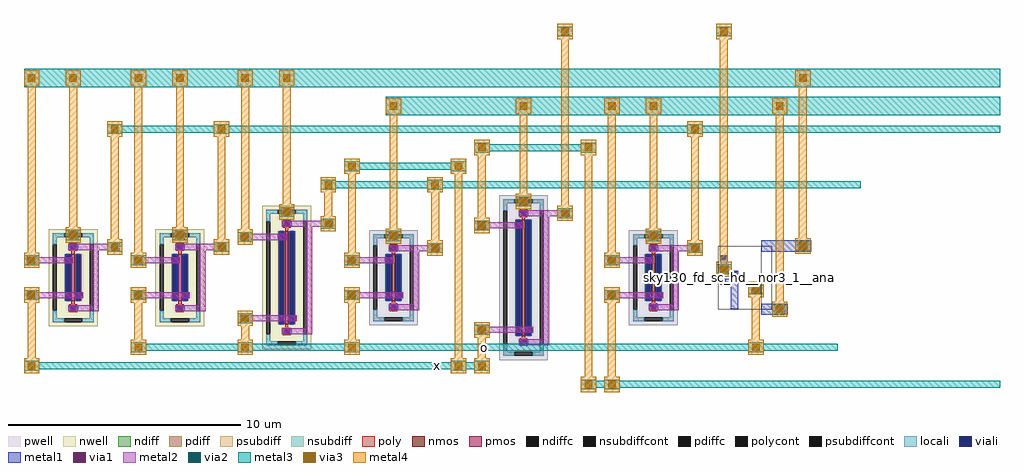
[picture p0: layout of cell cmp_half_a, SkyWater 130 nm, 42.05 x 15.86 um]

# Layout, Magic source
magic
tech sky130A
magscale 1 2
<< viali >>
rect -2054 -119 -2020 -85
rect -2238 17 -2204 51
rect -2330 -51 -2296 -17
rect -2330 153 -2296 187
rect -2937 340 -2903 374
rect -2937 238 -2903 272
rect -2981 -188 -2947 188
rect -2893 -188 -2859 188
rect -2937 -272 -2903 -238
rect -4057 640 -4023 674
rect -4057 538 -4023 572
rect -4101 -488 -4067 488
rect -4013 -488 -3979 488
rect -4057 -572 -4023 -538
rect -5177 340 -5143 374
rect -5177 238 -5143 272
rect -5221 -188 -5187 188
rect -5133 -188 -5099 188
rect -5177 -272 -5143 -238
rect -6097 549 -6063 583
rect -6097 447 -6063 481
rect -6141 -388 -6107 388
rect -6053 -388 -6019 388
rect -6097 -481 -6063 -447
rect -7017 349 -6983 383
rect -7017 247 -6983 281
rect -7061 -188 -7027 188
rect -6973 -188 -6939 188
rect -7017 -281 -6983 -247
rect -7937 349 -7903 383
rect -7937 247 -7903 281
rect -7981 -188 -7947 188
rect -7893 -188 -7859 188
rect -7937 -281 -7903 -247
<< metal1 >>
rect -2069 -128 -2005 -76
rect -2253 8 -2189 60
rect -2345 -60 -2281 -8
rect -2342 40 -2284 193
rect -2345 -60 -2189 -8
rect -2253 -60 -2189 60
rect -2253 -272 -2189 60
rect -2069 -134 -2005 -70
rect -2345 40 -2281 104
rect -1992 -320 -1762 -224
rect -1992 224 -1562 320
rect -1864 -304 -1800 -240
rect -1664 240 -1600 304
rect -2997 124 -2931 176
rect -2909 -176 -2843 -124
rect -2962 229 -2878 281
rect -2962 -281 -2878 -229
rect -2952 331 -2888 383
rect -2949 272 -2891 278
rect -2949 238 -2937 272
rect -2903 238 -2891 272
rect -2949 232 -2891 238
rect -2987 188 -2941 200
rect -2987 -188 -2981 188
rect -2947 -188 -2941 188
rect -2987 -200 -2941 -188
rect -2899 188 -2853 200
rect -2899 -188 -2893 188
rect -2859 -188 -2853 188
rect -2899 -200 -2853 -188
rect -2949 -238 -2891 -232
rect -2949 -272 -2937 -238
rect -2903 -272 -2891 -238
rect -2949 -278 -2891 -272
rect -4117 424 -4051 476
rect -4029 -476 -3963 -424
rect -4082 529 -3998 581
rect -4082 -581 -3998 -529
rect -4072 631 -4008 683
rect -4069 572 -4011 578
rect -4069 538 -4057 572
rect -4023 538 -4011 572
rect -4069 532 -4011 538
rect -4107 488 -4061 500
rect -4107 -488 -4101 488
rect -4067 -488 -4061 488
rect -4107 -500 -4061 -488
rect -4019 488 -3973 500
rect -4019 -488 -4013 488
rect -3979 -488 -3973 488
rect -4019 -500 -3973 -488
rect -4069 -538 -4011 -532
rect -4069 -572 -4057 -538
rect -4023 -572 -4011 -538
rect -4069 -578 -4011 -572
rect -5237 124 -5171 176
rect -5149 -176 -5083 -124
rect -5202 229 -5118 281
rect -5202 -281 -5118 -229
rect -5192 331 -5128 383
rect -5189 272 -5131 278
rect -5189 238 -5177 272
rect -5143 238 -5131 272
rect -5189 232 -5131 238
rect -5227 188 -5181 200
rect -5227 -188 -5221 188
rect -5187 -188 -5181 188
rect -5227 -200 -5181 -188
rect -5139 188 -5093 200
rect -5139 -188 -5133 188
rect -5099 -188 -5093 188
rect -5139 -200 -5093 -188
rect -5189 -238 -5131 -232
rect -5189 -272 -5177 -238
rect -5143 -272 -5131 -238
rect -5189 -278 -5131 -272
rect -6157 324 -6091 376
rect -6069 -376 -6003 -324
rect -6122 438 -6038 490
rect -6122 -490 -6038 -438
rect -6112 540 -6048 592
rect -6109 481 -6051 487
rect -6109 447 -6097 481
rect -6063 447 -6051 481
rect -6109 441 -6051 447
rect -6147 388 -6101 400
rect -6147 -388 -6141 388
rect -6107 -388 -6101 388
rect -6147 -400 -6101 -388
rect -6059 388 -6013 400
rect -6059 -388 -6053 388
rect -6019 -388 -6013 388
rect -6059 -400 -6013 -388
rect -6109 -447 -6051 -441
rect -6109 -481 -6097 -447
rect -6063 -481 -6051 -447
rect -6109 -487 -6051 -481
rect -7077 124 -7011 176
rect -6989 -176 -6923 -124
rect -7042 238 -6958 290
rect -7042 -290 -6958 -238
rect -7032 340 -6968 392
rect -7029 281 -6971 287
rect -7029 247 -7017 281
rect -6983 247 -6971 281
rect -7029 241 -6971 247
rect -7067 188 -7021 200
rect -7067 -188 -7061 188
rect -7027 -188 -7021 188
rect -7067 -200 -7021 -188
rect -6979 188 -6933 200
rect -6979 -188 -6973 188
rect -6939 -188 -6933 188
rect -6979 -200 -6933 -188
rect -7029 -247 -6971 -241
rect -7029 -281 -7017 -247
rect -6983 -281 -6971 -247
rect -7029 -287 -6971 -281
rect -7997 124 -7931 176
rect -7909 -176 -7843 -124
rect -7962 238 -7878 290
rect -7962 -290 -7878 -238
rect -7952 340 -7888 392
rect -7949 281 -7891 287
rect -7949 247 -7937 281
rect -7903 247 -7891 281
rect -7949 241 -7891 247
rect -7987 188 -7941 200
rect -7987 -188 -7981 188
rect -7947 -188 -7941 188
rect -7987 -200 -7941 -188
rect -7899 188 -7853 200
rect -7899 -188 -7893 188
rect -7859 -188 -7853 188
rect -7899 -200 -7853 -188
rect -7949 -247 -7891 -241
rect -7949 -281 -7937 -247
rect -7903 -281 -7891 -247
rect -7949 -287 -7891 -281
<< via1 >>
rect -2063 -128 -2011 -76
rect -2339 46 -2287 98
rect -1858 -298 -1806 -246
rect -1658 246 -1606 298
rect -2990 124 -2938 176
rect -2902 -176 -2850 -124
rect -2946 229 -2894 281
rect -2946 -281 -2894 -229
rect -2946 331 -2894 383
rect -4110 424 -4058 476
rect -4022 -476 -3970 -424
rect -4066 529 -4014 581
rect -4066 -581 -4014 -529
rect -4066 631 -4014 683
rect -5230 124 -5178 176
rect -5142 -176 -5090 -124
rect -5186 229 -5134 281
rect -5186 -281 -5134 -229
rect -5186 331 -5134 383
rect -6150 324 -6098 376
rect -6062 -376 -6010 -324
rect -6106 438 -6054 490
rect -6106 -490 -6054 -438
rect -6106 540 -6054 592
rect -7070 124 -7018 176
rect -6982 -176 -6930 -124
rect -7026 238 -6974 290
rect -7026 -290 -6974 -238
rect -7026 340 -6974 392
rect -7990 124 -7938 176
rect -7902 -176 -7850 -124
rect -7946 238 -7894 290
rect -7946 -290 -7894 -238
rect -7946 340 -7894 392
<< metal2 >>
rect -2079 -144 -1995 -60
rect -2355 30 -2271 114
rect -1874 -314 -1790 -230
rect -1674 230 -1590 314
rect -2997 124 -2931 176
rect -2909 -176 -2843 -124
rect -3006 124 -2922 176
rect -2918 -176 -2834 -124
rect -2962 229 -2878 281
rect -2962 229 -2700 281
rect -2962 -281 -2878 -229
rect -2962 -281 -2700 -229
rect -2752 -281 -2700 281
rect -3320 124 -2964 176
rect -3320 -176 -2876 -124
rect -2752 229 -2520 281
rect -2962 315 -2878 399
rect -3320 108 -3236 192
rect -3320 -192 -3236 -108
rect -2604 213 -2520 297
rect -4117 424 -4051 476
rect -4029 -476 -3963 -424
rect -4126 424 -4042 476
rect -4038 -476 -3954 -424
rect -4082 529 -3998 581
rect -4082 529 -3820 581
rect -4082 -581 -3998 -529
rect -4082 -581 -3820 -529
rect -3872 -581 -3820 581
rect -4440 424 -4084 476
rect -4440 -476 -3996 -424
rect -3872 529 -3640 581
rect -4082 615 -3998 699
rect -4440 408 -4356 492
rect -4440 -492 -4356 -408
rect -3724 513 -3640 597
rect -5237 124 -5171 176
rect -5149 -176 -5083 -124
rect -5246 124 -5162 176
rect -5158 -176 -5074 -124
rect -5202 229 -5118 281
rect -5202 229 -4940 281
rect -5202 -281 -5118 -229
rect -5202 -281 -4940 -229
rect -4992 -281 -4940 281
rect -5560 124 -5204 176
rect -5560 -176 -5116 -124
rect -4992 229 -4760 281
rect -5202 315 -5118 399
rect -5560 108 -5476 192
rect -5560 -192 -5476 -108
rect -4844 213 -4760 297
rect -6157 324 -6091 376
rect -6069 -376 -6003 -324
rect -6166 324 -6082 376
rect -6078 -376 -5994 -324
rect -6122 438 -6038 490
rect -6122 438 -5860 490
rect -6122 -490 -6038 -438
rect -6122 -490 -5860 -438
rect -5912 -490 -5860 490
rect -6480 324 -6124 376
rect -6480 -376 -6036 -324
rect -5912 438 -5680 490
rect -6122 524 -6038 608
rect -6480 308 -6396 392
rect -6480 -392 -6396 -308
rect -5764 422 -5680 506
rect -7077 124 -7011 176
rect -6989 -176 -6923 -124
rect -7086 124 -7002 176
rect -6998 -176 -6914 -124
rect -7042 238 -6958 290
rect -7042 238 -6780 290
rect -7042 -290 -6958 -238
rect -7042 -290 -6780 -238
rect -6832 -290 -6780 290
rect -7400 124 -7044 176
rect -7400 -176 -6956 -124
rect -6832 238 -6600 290
rect -7042 324 -6958 408
rect -7400 108 -7316 192
rect -7400 -192 -7316 -108
rect -6684 222 -6600 306
rect -7997 124 -7931 176
rect -7909 -176 -7843 -124
rect -8006 124 -7922 176
rect -7918 -176 -7834 -124
rect -7962 238 -7878 290
rect -7962 238 -7700 290
rect -7962 -290 -7878 -238
rect -7962 -290 -7700 -238
rect -7752 -290 -7700 290
rect -8320 124 -7964 176
rect -8320 -176 -7876 -124
rect -7752 238 -7520 290
rect -7962 324 -7878 408
rect -8320 108 -8236 192
rect -8320 -192 -8236 -108
rect -7604 222 -7520 306
<< via2 >>
rect -2069 -134 -2005 -70
rect -2345 40 -2281 104
rect -1864 -304 -1800 -240
rect -1664 240 -1600 304
rect -3310 118 -3246 182
rect -3310 -182 -3246 -118
rect -2594 223 -2530 287
rect -2952 325 -2888 389
rect -4430 418 -4366 482
rect -4430 -482 -4366 -418
rect -3714 523 -3650 587
rect -4072 625 -4008 689
rect -5550 118 -5486 182
rect -5550 -182 -5486 -118
rect -4834 223 -4770 287
rect -5192 325 -5128 389
rect -6470 318 -6406 382
rect -6470 -382 -6406 -318
rect -5754 432 -5690 496
rect -6112 534 -6048 598
rect -7390 118 -7326 182
rect -7390 -182 -7326 -118
rect -6674 232 -6610 296
rect -7032 334 -6968 398
rect -8310 118 -8246 182
rect -8310 -182 -8246 -118
rect -7594 232 -7530 296
rect -7952 334 -7888 398
<< metal3 >>
rect -3344 108 -3212 192
rect -3344 -192 -3212 -108
rect -2628 213 -2496 297
rect -2986 315 -2854 399
rect -4464 408 -4332 492
rect -4464 -492 -4332 -408
rect -3748 513 -3616 597
rect -4106 615 -3974 699
rect -5584 108 -5452 192
rect -5584 -192 -5452 -108
rect -4868 213 -4736 297
rect -5226 315 -5094 399
rect -6504 308 -6372 392
rect -6504 -392 -6372 -308
rect -5788 422 -5656 506
rect -6146 524 -6014 608
rect -7424 108 -7292 192
rect -7424 -192 -7292 -108
rect -6708 222 -6576 306
rect -7066 324 -6934 408
rect -8344 108 -8212 192
rect -8344 -192 -8212 -108
rect -7628 222 -7496 306
rect -7986 324 -7854 408
rect -3344 1438 -3212 1522
rect -2986 1438 -2854 1522
rect -4106 1438 -3974 1522
rect -5226 1438 -5094 1522
rect -6504 1678 -6372 1762
rect -6146 1678 -6014 1762
rect -7424 1678 -7292 1762
rect -7066 1678 -6934 1762
rect -8344 1678 -8212 1762
rect -7986 1678 -7854 1762
rect -2628 1238 -2496 1322
rect -6708 1238 -6576 1322
rect -7628 1238 -7496 1322
rect -4868 758 -4736 842
rect -5788 758 -5656 842
rect -5584 918 -5452 1002
rect -4464 1078 -4332 1162
rect -5584 -642 -5452 -558
rect -6504 -642 -6372 -558
rect -7424 -642 -7292 -558
rect -4464 -802 -4332 -718
rect -8344 -802 -8212 -718
rect -3344 -962 -3212 -878
rect -1898 -314 -1766 -230
rect -1898 1438 -1766 1522
rect -1698 230 -1566 314
rect -1698 1678 -1566 1762
rect -2103 -144 -1971 -60
rect -2103 -642 -1971 -558
rect -4666 -802 -4534 -718
rect -4666 918 -4534 1002
rect -3546 -962 -3414 -878
rect -3546 1078 -3414 1162
rect -5226 1400 66 1560
rect -8344 1640 66 1800
rect -7628 1250 66 1310
rect -3546 -950 66 -890
rect -5788 770 -1134 830
rect -5584 930 -4534 990
rect -4464 1090 -3414 1150
rect -7424 -630 -1334 -570
rect -8344 -790 -4332 -730
rect -3748 2078 -3616 2162
rect -2379 30 -2247 114
rect -2379 2078 -2247 2162
<< pwell >>
rect -3131 -410 -2709 410
rect -4251 -710 -3829 710
rect -5371 -410 -4949 410
<< nmos >>
rect -2935 -200 -2905 200
rect -4055 -500 -4025 500
rect -5175 -200 -5145 200
<< ndiff >>
rect -2993 188 -2935 200
rect -2993 -188 -2981 188
rect -2947 -188 -2935 188
rect -2993 -200 -2935 -188
rect -2905 188 -2847 200
rect -2905 -188 -2893 188
rect -2859 -188 -2847 188
rect -2905 -200 -2847 -188
rect -4113 488 -4055 500
rect -4113 -488 -4101 488
rect -4067 -488 -4055 488
rect -4113 -500 -4055 -488
rect -4025 488 -3967 500
rect -4025 -488 -4013 488
rect -3979 -488 -3967 488
rect -4025 -500 -3967 -488
rect -5233 188 -5175 200
rect -5233 -188 -5221 188
rect -5187 -188 -5175 188
rect -5233 -200 -5175 -188
rect -5145 188 -5087 200
rect -5145 -188 -5133 188
rect -5099 -188 -5087 188
rect -5145 -200 -5087 -188
<< ndiffc >>
rect -2981 -188 -2947 188
rect -2893 -188 -2859 188
rect -4101 -488 -4067 488
rect -4013 -488 -3979 488
rect -5221 -188 -5187 188
rect -5133 -188 -5099 188
<< psubdiff >>
rect -3095 340 -2999 374
rect -2841 340 -2745 374
rect -3095 278 -3061 340
rect -2779 278 -2745 340
rect -3095 -340 -3061 -278
rect -2779 -340 -2745 -278
rect -3095 -374 -2999 -340
rect -2841 -374 -2745 -340
rect -4215 640 -4119 674
rect -3961 640 -3865 674
rect -4215 578 -4181 640
rect -3899 578 -3865 640
rect -4215 -640 -4181 -578
rect -3899 -640 -3865 -578
rect -4215 -674 -4119 -640
rect -3961 -674 -3865 -640
rect -5335 340 -5239 374
rect -5081 340 -4985 374
rect -5335 278 -5301 340
rect -5019 278 -4985 340
rect -5335 -340 -5301 -278
rect -5019 -340 -4985 -278
rect -5335 -374 -5239 -340
rect -5081 -374 -4985 -340
<< psubdiffcont >>
rect -2999 340 -2841 374
rect -3095 -278 -3061 278
rect -2779 -278 -2745 278
rect -2999 -374 -2841 -340
rect -4119 640 -3961 674
rect -4215 -578 -4181 578
rect -3899 -578 -3865 578
rect -4119 -674 -3961 -640
rect -5239 340 -5081 374
rect -5335 -278 -5301 278
rect -5019 -278 -4985 278
rect -5239 -374 -5081 -340
<< poly >>
rect -2953 272 -2887 288
rect -2953 238 -2937 272
rect -2903 238 -2887 272
rect -2953 222 -2887 238
rect -2935 200 -2905 222
rect -2935 -222 -2905 -200
rect -2953 -238 -2887 -222
rect -2953 -272 -2937 -238
rect -2903 -272 -2887 -238
rect -2953 -288 -2887 -272
rect -4073 572 -4007 588
rect -4073 538 -4057 572
rect -4023 538 -4007 572
rect -4073 522 -4007 538
rect -4055 500 -4025 522
rect -4055 -522 -4025 -500
rect -4073 -538 -4007 -522
rect -4073 -572 -4057 -538
rect -4023 -572 -4007 -538
rect -4073 -588 -4007 -572
rect -5193 272 -5127 288
rect -5193 238 -5177 272
rect -5143 238 -5127 272
rect -5193 222 -5127 238
rect -5175 200 -5145 222
rect -5175 -222 -5145 -200
rect -5193 -238 -5127 -222
rect -5193 -272 -5177 -238
rect -5143 -272 -5127 -238
rect -5193 -288 -5127 -272
rect -6113 481 -6047 497
rect -6113 447 -6097 481
rect -6063 447 -6047 481
rect -6113 431 -6047 447
rect -6095 400 -6065 431
rect -6095 -431 -6065 -400
rect -6113 -447 -6047 -431
rect -6113 -481 -6097 -447
rect -6063 -481 -6047 -447
rect -6113 -497 -6047 -481
rect -7033 281 -6967 297
rect -7033 247 -7017 281
rect -6983 247 -6967 281
rect -7033 231 -6967 247
rect -7015 200 -6985 231
rect -7015 -231 -6985 -200
rect -7033 -247 -6967 -231
rect -7033 -281 -7017 -247
rect -6983 -281 -6967 -247
rect -7033 -297 -6967 -281
rect -7953 281 -7887 297
rect -7953 247 -7937 281
rect -7903 247 -7887 281
rect -7953 231 -7887 247
rect -7935 200 -7905 231
rect -7935 -231 -7905 -200
rect -7953 -247 -7887 -231
rect -7953 -281 -7937 -247
rect -7903 -281 -7887 -247
rect -7953 -297 -7887 -281
<< polycont >>
rect -2937 238 -2903 272
rect -2937 -272 -2903 -238
rect -4057 538 -4023 572
rect -4057 -572 -4023 -538
rect -5177 238 -5143 272
rect -5177 -272 -5143 -238
rect -6097 447 -6063 481
rect -6097 -481 -6063 -447
rect -7017 247 -6983 281
rect -7017 -281 -6983 -247
rect -7937 247 -7903 281
rect -7937 -281 -7903 -247
<< locali >>
rect -3095 340 -2999 374
rect -2841 340 -2745 374
rect -3095 278 -3061 340
rect -2779 278 -2745 340
rect -2953 238 -2937 272
rect -2903 238 -2887 272
rect -2981 188 -2947 204
rect -2981 -204 -2947 -188
rect -2893 188 -2859 204
rect -2893 -204 -2859 -188
rect -2953 -272 -2937 -238
rect -2903 -272 -2887 -238
rect -3095 -340 -3061 -278
rect -2779 -340 -2745 -278
rect -3095 -374 -2999 -340
rect -2841 -374 -2745 -340
rect -4215 640 -4119 674
rect -3961 640 -3865 674
rect -4215 578 -4181 640
rect -3899 578 -3865 640
rect -4073 538 -4057 572
rect -4023 538 -4007 572
rect -4101 488 -4067 504
rect -4101 -504 -4067 -488
rect -4013 488 -3979 504
rect -4013 -504 -3979 -488
rect -4073 -572 -4057 -538
rect -4023 -572 -4007 -538
rect -4215 -640 -4181 -578
rect -3899 -640 -3865 -578
rect -4215 -674 -4119 -640
rect -3961 -674 -3865 -640
rect -5335 340 -5239 374
rect -5081 340 -4985 374
rect -5335 278 -5301 340
rect -5019 278 -4985 340
rect -5193 238 -5177 272
rect -5143 238 -5127 272
rect -5221 188 -5187 204
rect -5221 -204 -5187 -188
rect -5133 188 -5099 204
rect -5133 -204 -5099 -188
rect -5193 -272 -5177 -238
rect -5143 -272 -5127 -238
rect -5335 -340 -5301 -278
rect -5019 -340 -4985 -278
rect -5335 -374 -5239 -340
rect -5081 -374 -4985 -340
rect -6255 549 -6159 583
rect -6001 549 -5905 583
rect -6255 487 -6221 549
rect -5939 487 -5905 549
rect -6113 447 -6097 481
rect -6063 447 -6047 481
rect -6141 388 -6107 404
rect -6141 -404 -6107 -388
rect -6053 388 -6019 404
rect -6053 -404 -6019 -388
rect -6113 -481 -6097 -447
rect -6063 -481 -6047 -447
rect -6255 -549 -6221 -487
rect -5939 -549 -5905 -487
rect -6255 -583 -6159 -549
rect -6001 -583 -5905 -549
rect -7175 349 -7079 383
rect -6921 349 -6825 383
rect -7175 287 -7141 349
rect -6859 287 -6825 349
rect -7033 247 -7017 281
rect -6983 247 -6967 281
rect -7061 188 -7027 204
rect -7061 -204 -7027 -188
rect -6973 188 -6939 204
rect -6973 -204 -6939 -188
rect -7033 -281 -7017 -247
rect -6983 -281 -6967 -247
rect -7175 -349 -7141 -287
rect -6859 -349 -6825 -287
rect -7175 -383 -7079 -349
rect -6921 -383 -6825 -349
rect -8095 349 -7999 383
rect -7841 349 -7745 383
rect -8095 287 -8061 349
rect -7779 287 -7745 349
rect -7953 247 -7937 281
rect -7903 247 -7887 281
rect -7981 188 -7947 204
rect -7981 -204 -7947 -188
rect -7893 188 -7859 204
rect -7893 -204 -7859 -188
rect -7953 -281 -7937 -247
rect -7903 -281 -7887 -247
rect -8095 -349 -8061 -287
rect -7779 -349 -7745 -287
rect -8095 -383 -7999 -349
rect -7841 -383 -7745 -349
<< nwell >>
rect -6291 -619 -5869 619
rect -7211 -419 -6789 419
rect -8131 -419 -7709 419
<< pmos >>
rect -6095 -400 -6065 400
rect -7015 -200 -6985 200
rect -7935 -200 -7905 200
<< pdiff >>
rect -6153 388 -6095 400
rect -6153 -388 -6141 388
rect -6107 -388 -6095 388
rect -6153 -400 -6095 -388
rect -6065 388 -6007 400
rect -6065 -388 -6053 388
rect -6019 -388 -6007 388
rect -6065 -400 -6007 -388
rect -7073 188 -7015 200
rect -7073 -188 -7061 188
rect -7027 -188 -7015 188
rect -7073 -200 -7015 -188
rect -6985 188 -6927 200
rect -6985 -188 -6973 188
rect -6939 -188 -6927 188
rect -6985 -200 -6927 -188
rect -7993 188 -7935 200
rect -7993 -188 -7981 188
rect -7947 -188 -7935 188
rect -7993 -200 -7935 -188
rect -7905 188 -7847 200
rect -7905 -188 -7893 188
rect -7859 -188 -7847 188
rect -7905 -200 -7847 -188
<< pdiffc >>
rect -6141 -388 -6107 388
rect -6053 -388 -6019 388
rect -7061 -188 -7027 188
rect -6973 -188 -6939 188
rect -7981 -188 -7947 188
rect -7893 -188 -7859 188
<< nsubdiff >>
rect -6255 549 -6159 583
rect -6001 549 -5905 583
rect -6255 487 -6221 549
rect -5939 487 -5905 549
rect -6255 -549 -6221 -487
rect -5939 -549 -5905 -487
rect -6255 -583 -6159 -549
rect -6001 -583 -5905 -549
rect -7175 349 -7079 383
rect -6921 349 -6825 383
rect -7175 287 -7141 349
rect -6859 287 -6825 349
rect -7175 -349 -7141 -287
rect -6859 -349 -6825 -287
rect -7175 -383 -7079 -349
rect -6921 -383 -6825 -349
rect -8095 349 -7999 383
rect -7841 349 -7745 383
rect -8095 287 -8061 349
rect -7779 287 -7745 349
rect -8095 -349 -8061 -287
rect -7779 -349 -7745 -287
rect -8095 -383 -7999 -349
rect -7841 -383 -7745 -349
<< nsubdiffcont >>
rect -6159 549 -6001 583
rect -6255 -487 -6221 487
rect -5939 -487 -5905 487
rect -6159 -583 -6001 -549
rect -7079 349 -6921 383
rect -7175 -287 -7141 287
rect -6859 -287 -6825 287
rect -7079 -383 -6921 -349
rect -7999 349 -7841 383
rect -8095 -287 -8061 287
rect -7779 -287 -7745 287
rect -7999 -383 -7841 -349
<< metal4 >>
rect -3312 150 -3244 1480
rect -3344 84 -3212 216
rect -3344 1414 -3212 1546
rect -2954 357 -2886 1480
rect -2986 291 -2854 423
rect -2986 1414 -2854 1546
rect -4074 657 -4006 1480
rect -4106 591 -3974 723
rect -4106 1414 -3974 1546
rect -5194 357 -5126 1480
rect -5226 291 -5094 423
rect -5226 1414 -5094 1546
rect -6472 350 -6404 1720
rect -6504 284 -6372 416
rect -6504 1654 -6372 1786
rect -6114 566 -6046 1720
rect -6146 500 -6014 632
rect -6146 1654 -6014 1786
rect -7392 150 -7324 1720
rect -7424 84 -7292 216
rect -7424 1654 -7292 1786
rect -7034 366 -6966 1720
rect -7066 300 -6934 432
rect -7066 1654 -6934 1786
rect -8312 150 -8244 1720
rect -8344 84 -8212 216
rect -8344 1654 -8212 1786
rect -7954 366 -7886 1720
rect -7986 300 -7854 432
rect -7986 1654 -7854 1786
rect -2596 255 -2528 1280
rect -2628 189 -2496 321
rect -2628 1214 -2496 1346
rect -6676 264 -6608 1280
rect -6708 198 -6576 330
rect -6708 1214 -6576 1346
rect -7596 264 -7528 1280
rect -7628 198 -7496 330
rect -7628 1214 -7496 1346
rect -4836 255 -4768 800
rect -4868 189 -4736 321
rect -4868 734 -4736 866
rect -5756 464 -5688 800
rect -5788 398 -5656 530
rect -5788 734 -5656 866
rect -5552 150 -5484 960
rect -5584 84 -5452 216
rect -5584 894 -5452 1026
rect -4432 450 -4364 1120
rect -4464 384 -4332 516
rect -4464 1054 -4332 1186
rect -5552 -600 -5484 -150
rect -5584 -216 -5452 -84
rect -5584 -666 -5452 -534
rect -6472 -600 -6404 -350
rect -6504 -416 -6372 -284
rect -6504 -666 -6372 -534
rect -7392 -600 -7324 -150
rect -7424 -216 -7292 -84
rect -7424 -666 -7292 -534
rect -4432 -760 -4364 -450
rect -4464 -516 -4332 -384
rect -4464 -826 -4332 -694
rect -8312 -760 -8244 -150
rect -8344 -216 -8212 -84
rect -8344 -826 -8212 -694
rect -3312 -920 -3244 -150
rect -3344 -216 -3212 -84
rect -3344 -986 -3212 -854
rect -1866 -272 -1798 1480
rect -1898 -338 -1766 -206
rect -1898 1414 -1766 1546
rect -1666 272 -1598 1720
rect -1698 206 -1566 338
rect -1698 1654 -1566 1786
rect -2071 -600 -2003 -102
rect -2103 -168 -1971 -36
rect -2103 -666 -1971 -534
rect -4634 -760 -4566 960
rect -4666 -826 -4534 -694
rect -4666 894 -4534 1026
rect -3514 -920 -3446 1120
rect -3546 -986 -3414 -854
rect -3546 1054 -3414 1186
rect -3716 555 -3648 2120
rect -3748 489 -3616 621
rect -3748 2054 -3616 2186
rect -2347 72 -2279 2120
rect -2379 6 -2247 138
rect -2379 2054 -2247 2186
<< via3 >>
rect -3310 118 -3246 182
rect -3310 1448 -3246 1512
rect -2952 325 -2888 389
rect -2952 1448 -2888 1512
rect -4072 625 -4008 689
rect -4072 1448 -4008 1512
rect -5192 325 -5128 389
rect -5192 1448 -5128 1512
rect -6470 318 -6406 382
rect -6470 1688 -6406 1752
rect -6112 534 -6048 598
rect -6112 1688 -6048 1752
rect -7390 118 -7326 182
rect -7390 1688 -7326 1752
rect -7032 334 -6968 398
rect -7032 1688 -6968 1752
rect -8310 118 -8246 182
rect -8310 1688 -8246 1752
rect -7952 334 -7888 398
rect -7952 1688 -7888 1752
rect -2594 223 -2530 287
rect -2594 1248 -2530 1312
rect -6674 232 -6610 296
rect -6674 1248 -6610 1312
rect -7594 232 -7530 296
rect -7594 1248 -7530 1312
rect -4834 223 -4770 287
rect -4834 768 -4770 832
rect -5754 432 -5690 496
rect -5754 768 -5690 832
rect -5550 118 -5486 182
rect -5550 928 -5486 992
rect -4430 418 -4366 482
rect -4430 1088 -4366 1152
rect -5550 -182 -5486 -118
rect -5550 -632 -5486 -568
rect -6470 -382 -6406 -318
rect -6470 -632 -6406 -568
rect -7390 -182 -7326 -118
rect -7390 -632 -7326 -568
rect -4430 -482 -4366 -418
rect -4430 -792 -4366 -728
rect -8310 -182 -8246 -118
rect -8310 -792 -8246 -728
rect -3310 -182 -3246 -118
rect -3310 -952 -3246 -888
rect -1864 -304 -1800 -240
rect -1864 1448 -1800 1512
rect -1664 240 -1600 304
rect -1664 1688 -1600 1752
rect -2069 -134 -2005 -70
rect -2069 -632 -2005 -568
rect -4632 -792 -4568 -728
rect -4632 928 -4568 992
rect -3512 -952 -3448 -888
rect -3512 1088 -3448 1152
rect -3714 523 -3650 587
rect -3714 2088 -3650 2152
rect -2345 40 -2281 104
rect -2345 2088 -2281 2152
use sky130_fd_sc_hd__nor3_1__ana Xnd
transform 1 0 -2360 0 1 -272
box 0 0 368 544
use sky130_fd_sc_hd__tapvpwrvgnd_1__ana cs_tap
transform 1 0 -1992 0 1 -272
box 0 0 92 544
<< labels >>
flabel metal3 -4399 -620 -4359 -580 0 FreeSans 80 0 0 0 o
flabel metal3 -4800 -780 -4760 -740 0 FreeSans 80 0 0 0 x
<< end >>
